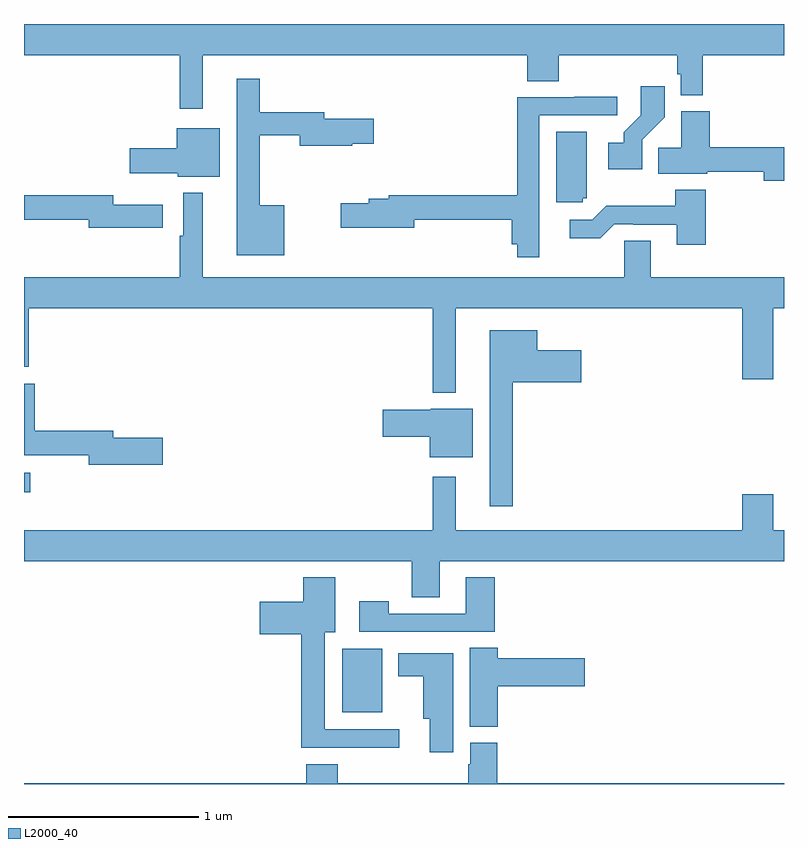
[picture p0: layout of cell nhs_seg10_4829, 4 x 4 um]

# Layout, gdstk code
import gdstk
lib = gdstk.Library(unit=1e-6, precision=1e-09)
def R(c, l, rs):  # rectangles x0, y0, x1, y1
    for r in rs: c.add(gdstk.rectangle(r[:2], r[2:], *l))
def P(c, l, *ps):  # polygons
    for p in ps: c.add(gdstk.Polygon(p, *l))
L2000_40 = (2000, 40)

nhs_seg10_4829 = lib.new_cell('nhs_seg10_4829')
R(nhs_seg10_4829, L2000_40, [(390.674,1276.877,390.886,1277.212), (389,1278.035,389.032,1278.139)])
P(nhs_seg10_4829, L2000_40, [(389.941,1280.336),(391.649,1280.336),(391.649,1280.2),(391.814,1280.2),(391.814,1280.336),(392.437,1280.336),(392.437,1280.235),(392.457,1280.235),(392.457,1280.126),(392.573,1280.126),(392.573,1280.336),(393,1280.336),(393,1280.5),(389,1280.5),(389,1280.336),(389.82,1280.336),(389.82,1280.055),(389.941,1280.055)],
  [(390.37,1279.546),(390.241,1279.546),(390.241,1279.914),(390.452,1279.914),(390.452,1279.859),(390.728,1279.859),(390.728,1279.871),(390.841,1279.871),(390.841,1280.001),(390.58,1280.001),(390.58,1280.035),(390.241,1280.035),(390.241,1280.212),(390.119,1280.212),(390.119,1279.283),(390.37,1279.283)],
  [(392.253,1279.891),(392.372,1280.01),(392.372,1280.173),(392.247,1280.173),(392.247,1280.021),(392.156,1279.931),(392.156,1279.876),(392.076,1279.876),(392.076,1279.736),(392.253,1279.736)],
  [(391.713,1280.019),(392.122,1280.019),(392.122,1280.118),(391.897,1280.118),(391.897,1280.115),(391.597,1280.115),(391.597,1279.598),(390.919,1279.598),(390.919,1279.579),(390.815,1279.579),(390.815,1279.557),(390.666,1279.557),(390.666,1279.427),(391.054,1279.427),(391.054,1279.47),(391.568,1279.47),(391.568,1279.34),(391.597,1279.34),(391.597,1279.272),(391.713,1279.272)],
  [(393,1279.852),(392.609,1279.852),(392.609,1280.041),(392.459,1280.041),(392.459,1279.85),(392.338,1279.85),(392.338,1279.712),(392.596,1279.712),(392.596,1279.723),(392.894,1279.723),(392.894,1279.676),(393,1279.676)],
  [(390.031,1279.951),(389.804,1279.951),(389.804,1279.845),(389.556,1279.845),(389.556,1279.715),(389.808,1279.715),(389.808,1279.697),(390.031,1279.697)],
  [(391.941,1279.584),(391.963,1279.584),(391.963,1279.933),(391.802,1279.933),(391.802,1279.563),(391.941,1279.563)],
  [(392.588,1279.627),(392.428,1279.627),(392.428,1279.543),(392.065,1279.543),(391.992,1279.47),(391.872,1279.47),(391.872,1279.373),(392.033,1279.373),(392.106,1279.446),(392.206,1279.446),(392.206,1279.443),(392.435,1279.443),(392.435,1279.338),(392.588,1279.338)],
  [(391.273,1279.004),(392.78,1279.004),(392.78,1278.63),(392.944,1278.63),(392.944,1279.004),(393,1279.004),(393,1279.168),(392.299,1279.168),(392.299,1279.358),(392.16,1279.358),(392.16,1279.168),(389.941,1279.168),(389.941,1279.612),(389.837,1279.612),(389.837,1279.385),(389.82,1279.385),(389.82,1279.168),(389,1279.168),(389,1278.696),(389.024,1278.696),(389.024,1279.004),(391.152,1279.004),(391.152,1278.56),(391.273,1278.56)],
  [(389.731,1279.549),(389.47,1279.549),(389.47,1279.598),(389,1279.598),(389,1279.47),(389.342,1279.47),(389.342,1279.427),(389.731,1279.427)],
  [(391.573,1278.614),(391.933,1278.614),(391.933,1278.784),(391.702,1278.784),(391.702,1278.889),(391.451,1278.889),(391.451,1277.961),(391.573,1277.961)],
  [(389.731,1278.323),(389.47,1278.323),(389.47,1278.359),(389.057,1278.359),(389.057,1278.607),(389,1278.607),(389,1278.23),(389.14,1278.23),(389.14,1278.231),(389.342,1278.231),(389.342,1278.181),(389.731,1278.181)],
  [(391.363,1278.475),(391.14,1278.475),(391.14,1278.47),(390.888,1278.47),(390.888,1278.328),(391.136,1278.328),(391.136,1278.221),(391.363,1278.221)],
  [(391.189,1277.672),(393,1277.672),(393,1277.836),(392.944,1277.836),(392.944,1278.025),(392.78,1278.025),(392.78,1277.836),(391.273,1277.836),(391.273,1278.118),(391.152,1278.118),(391.152,1277.836),(389,1277.836),(389,1277.672),(391.042,1277.672),(391.042,1277.482),(391.189,1277.482)],
  [(390.976,1276.788),(390.583,1276.788),(390.583,1277.3),(390.637,1277.3),(390.637,1277.587),(390.47,1277.587),(390.47,1277.458),(390.24,1277.458),(390.24,1277.288),(390.458,1277.288),(390.458,1276.691),(390.976,1276.691)],
  [(391.478,1277.587),(391.325,1277.587),(391.325,1277.397),(390.921,1277.397),(390.921,1277.461),(390.765,1277.461),(390.765,1277.301),(391.478,1277.301)],
  [(391.493,1277.015),(391.951,1277.015),(391.951,1277.162),(391.493,1277.162),(391.493,1277.216),(391.346,1277.216),(391.346,1276.801),(391.493,1276.801)],
  [(391.258,1277.188),(390.971,1277.188),(390.971,1277.066),(391.1,1277.066),(391.1,1276.844),(391.136,1276.844),(391.136,1276.668),(391.258,1276.668)],
  [(393,1276.504),(391.49,1276.504),(391.49,1276.716),(391.349,1276.716),(391.349,1276.605),(391.337,1276.605),(391.337,1276.504),(390.65,1276.504),(390.65,1276.603),(390.485,1276.603),(390.485,1276.504),(389,1276.504),(389,1276.5),(393,1276.5)])

lib.write_gds('nhs_seg10_4829.gds')
